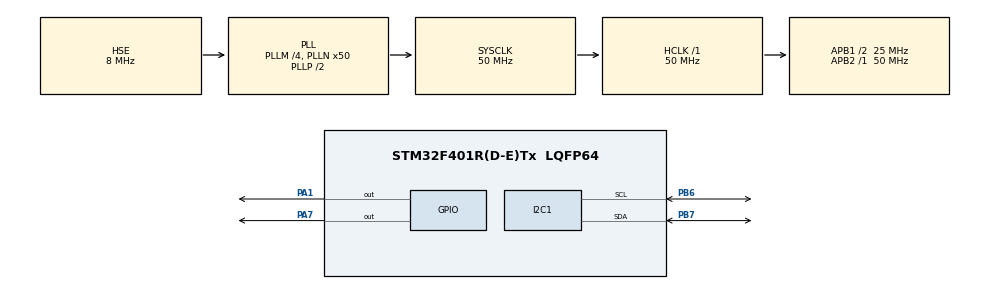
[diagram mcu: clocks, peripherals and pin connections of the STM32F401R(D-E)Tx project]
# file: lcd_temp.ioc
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Mcu.Family=STM32F4
Mcu.Name=STM32F401R(D-E)Tx
Mcu.Package=LQFP64
NVIC.PriorityGroup=NVIC_PRIORITYGROUP_4
PA1.GPIO_PuPd=GPIO_PULLUP
PA1.Signal=GPIO_Output
PA7.Signal=GPIO_Output
PB6.Mode=I2C
PB6.Signal=I2C1_SCL
PB7.Mode=I2C
PB7.Signal=I2C1_SDA
PH0\ -\ OSC_IN.Mode=HSE-External-Oscillator
PH0\ -\ OSC_IN.Signal=RCC_OSC_IN
PH1\ -\ OSC_OUT.Mode=HSE-External-Oscillator
PH1\ -\ OSC_OUT.Signal=RCC_OSC_OUT
ProjectManager.HeapSize=0x200
ProjectManager.StackSize=0x400
ProjectManager.TargetToolchain=STM32CubeIDE
RCC.48MHZClocksFreq_Value=25000000
RCC.AHBFreq_Value=50000000
RCC.APB1CLKDivider=RCC_HCLK_DIV2
RCC.APB1Freq_Value=25000000
RCC.APB1TimFreq_Value=50000000
RCC.APB2Freq_Value=50000000
RCC.APB2TimFreq_Value=50000000
RCC.CortexFreq_Value=50000000
RCC.HCLKFreq_Value=50000000
RCC.HSE_VALUE=8000000
RCC.HSI_VALUE=16000000
RCC.LSE_VALUE=32768
RCC.PLLM=4
RCC.PLLN=50
RCC.PLLSourceVirtual=RCC_PLLSOURCE_HSE
RCC.SYSCLKFreq_VALUE=50000000
RCC.SYSCLKSource=RCC_SYSCLKSOURCE_PLLCLK
RCC.VCOOutputFreq_Value=100000000
board=custom

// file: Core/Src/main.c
/* USER CODE BEGIN Header */
/**
  ******************************************************************************
  * @file           : main.c
  * @brief          : Main program body
  ******************************************************************************
  * @attention
  *
  * <h2><center>&copy; Copyright (c) 2021 STMicroelectronics.
  * All rights reserved.</center></h2>
  *
  * This software component is licensed by ST under BSD 3-Clause license,
  * the "License"; You may not use this file except in compliance with the
  * License. You may obtain a copy of the License at:
  *                        opensource.org/licenses/BSD-3-Clause
  *
  ******************************************************************************
  */
/* USER CODE END Header */
#include "main.h"

/* USER CODE BEGIN Includes */
#include "i2c-lcd.h"
#include "DHT.h"
#include <stdio.h>
#include <stdlib.h>
#include <string.h>
#define MAX_DIGITS 10
/* USER CODE END Includes */

I2C_HandleTypeDef hi2c1;

void SystemClock_Config(void);
static void MX_GPIO_Init(void);
static void MX_I2C1_Init(void);

int main(void)
{
  /* USER CODE BEGIN 1 */
	uint8_t spr =2, temp1, temp2;
	uint16_t temp;
	float temperature;
  /* USER CODE END 1 */

  /* MCU Configuration--------------------------------------------------------*/

  /* Reset of all peripherals, Initializes the Flash interface and the Systick. */
  HAL_Init();

  /* Configure the system clock */
  SystemClock_Config();

  /* Initialize all configured peripherals */
  MX_GPIO_Init();
  MX_I2C1_Init();
  /* USER CODE BEGIN 2 */
  lcd_init();

  lcd_send_string("Hello world!");
  HAL_GPIO_WritePin(GPIOA, GPIO_PIN_7 ,0);
  HAL_GPIO_WritePin(GPIOA, GPIO_PIN_1 ,1);
  lcd_put_cur(0,0);
  lcd_send_string("Temp: ");
  lcd_put_cur(1,0);
  /* USER CODE END 2 */

  /* Infinite loop */
  while (1)
  {

    /* USER CODE BEGIN 3 */
	  spr = Reset_Pulse();

	 	  		  send(0xCC);
	 	  		  send(0x44);
	 	  		  HAL_Delay(800);

	 	  		  Reset_Pulse();

	 	  		  send(0xCC);
	 	  		  send(0xBE);

	 	  		  temp1 = read();
	 	  		  temp2 = read();

	 	  		  temp = (temp2<<8)|temp1;
	 	  		  temperature = (float)temp/16;

	 	  		  char num_char[MAX_DIGITS + sizeof(char)];
	 	  		  //dtostrf( temperature, 3, 4, temp );
	 	  		  lcd_clear();

	 	  		  //char dupa[5];
	 	  		  lcd_put_cur(1,0);
	 	  		  sprintf(num_char, "Temp: %d", temperature);
	 	  		  lcd_send_string(num_char);

	 	  		  //char num_char[MAX_DIGITS + sizeof(char)];
	 	  		  //sprintf(num_char, "%d");

  }
  /* USER CODE END 3 */
}

void SystemClock_Config(void)
{
  RCC_OscInitTypeDef RCC_OscInitStruct = {0};
  RCC_ClkInitTypeDef RCC_ClkInitStruct = {0};

  /** Configure the main internal regulator output voltage
  */
  __HAL_RCC_PWR_CLK_ENABLE();
  __HAL_PWR_VOLTAGESCALING_CONFIG(PWR_REGULATOR_VOLTAGE_SCALE2);
  /** Initializes the RCC Oscillators according to the specified parameters
  * in the RCC_OscInitTypeDef structure.
  */
  RCC_OscInitStruct.OscillatorType = RCC_OSCILLATORTYPE_HSE;
  RCC_OscInitStruct.HSEState = RCC_HSE_ON;
  RCC_OscInitStruct.PLL.PLLState = RCC_PLL_ON;
  RCC_OscInitStruct.PLL.PLLSource = RCC_PLLSOURCE_HSE;
  RCC_OscInitStruct.PLL.PLLM = 4;
  RCC_OscInitStruct.PLL.PLLN = 50;
  RCC_OscInitStruct.PLL.PLLP = RCC_PLLP_DIV2;
  RCC_OscInitStruct.PLL.PLLQ = 4;
  if (HAL_RCC_OscConfig(&RCC_OscInitStruct) != HAL_OK)
  {
    Error_Handler();
  }
  /** Initializes the CPU, AHB and APB buses clocks
  */
  RCC_ClkInitStruct.ClockType = RCC_CLOCKTYPE_HCLK|RCC_CLOCKTYPE_SYSCLK
                              |RCC_CLOCKTYPE_PCLK1|RCC_CLOCKTYPE_PCLK2;
  RCC_ClkInitStruct.SYSCLKSource = RCC_SYSCLKSOURCE_PLLCLK;
  RCC_ClkInitStruct.AHBCLKDivider = RCC_SYSCLK_DIV1;
  RCC_ClkInitStruct.APB1CLKDivider = RCC_HCLK_DIV2;
  RCC_ClkInitStruct.APB2CLKDivider = RCC_HCLK_DIV1;

  if (HAL_RCC_ClockConfig(&RCC_ClkInitStruct, FLASH_LATENCY_1) != HAL_OK)
  {
    Error_Handler();
  }
}

static void MX_I2C1_Init(void)
{

  hi2c1.Instance = I2C1;
  hi2c1.Init.ClockSpeed = 100000;
  hi2c1.Init.DutyCycle = I2C_DUTYCYCLE_2;
  hi2c1.Init.OwnAddress1 = 0;
  hi2c1.Init.AddressingMode = I2C_ADDRESSINGMODE_7BIT;
  hi2c1.Init.DualAddressMode = I2C_DUALADDRESS_DISABLE;
  hi2c1.Init.OwnAddress2 = 0;
  hi2c1.Init.GeneralCallMode = I2C_GENERALCALL_DISABLE;
  hi2c1.Init.NoStretchMode = I2C_NOSTRETCH_DISABLE;
  if (HAL_I2C_Init(&hi2c1) != HAL_OK)
  {
    Error_Handler();
  }

}

static void MX_GPIO_Init(void)
{
  GPIO_InitTypeDef GPIO_InitStruct = {0};

  /* GPIO Ports Clock Enable */
  __HAL_RCC_GPIOH_CLK_ENABLE();
  __HAL_RCC_GPIOA_CLK_ENABLE();
  __HAL_RCC_GPIOB_CLK_ENABLE();

  /*Configure GPIO pin Output Level */
  HAL_GPIO_WritePin(GPIOA, GPIO_PIN_1|GPIO_PIN_7, GPIO_PIN_RESET);

  /*Configure GPIO pin : PA1 */
  GPIO_InitStruct.Pin = GPIO_PIN_1;
  GPIO_InitStruct.Mode = GPIO_MODE_OUTPUT_PP;
  GPIO_InitStruct.Pull = GPIO_PULLUP;
  GPIO_InitStruct.Speed = GPIO_SPEED_FREQ_LOW;
  HAL_GPIO_Init(GPIOA, &GPIO_InitStruct);

  /*Configure GPIO pin : PA7 */
  GPIO_InitStruct.Pin = GPIO_PIN_7;
  GPIO_InitStruct.Mode = GPIO_MODE_OUTPUT_PP;
  GPIO_InitStruct.Pull = GPIO_NOPULL;
  GPIO_InitStruct.Speed = GPIO_SPEED_FREQ_LOW;
  HAL_GPIO_Init(GPIOA, &GPIO_InitStruct);

}

void Error_Handler(void)
{
  __disable_irq();
  while (1)
  {
  }
}

/************************ (C) COPYRIGHT STMicroelectronics *****END OF FILE****/
